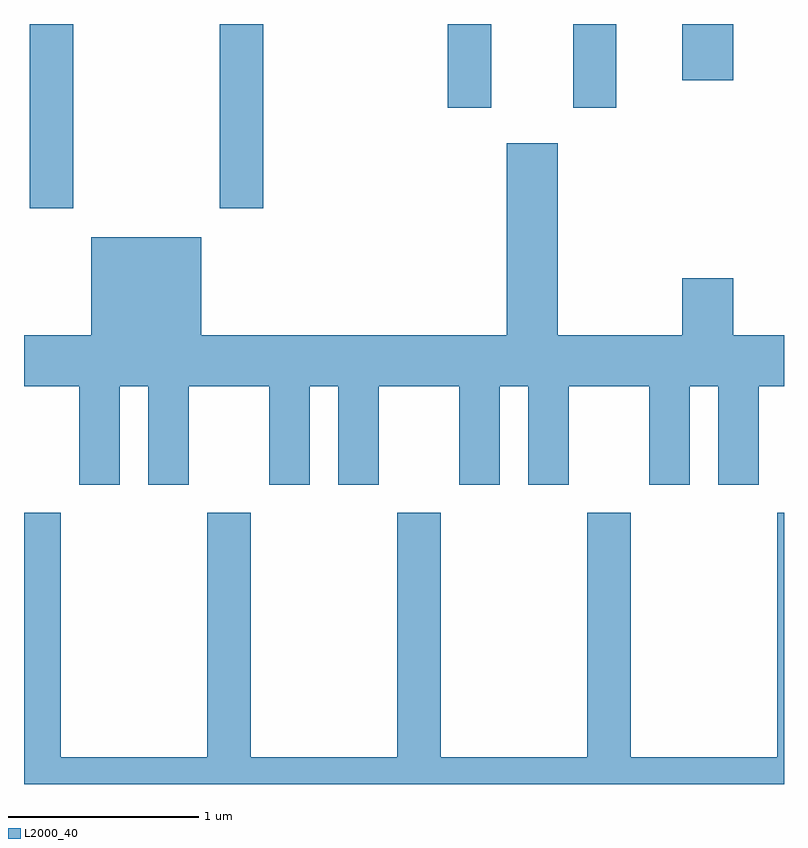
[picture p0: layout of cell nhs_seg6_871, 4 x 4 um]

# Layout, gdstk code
import gdstk
lib = gdstk.Library(unit=1e-6, precision=1e-09)
def R(c, l, rs):  # rectangles x0, y0, x1, y1
    for r in rs: c.add(gdstk.rectangle(r[:2], r[2:], *l))
def P(c, l, *ps):  # polygons
    for p in ps: c.add(gdstk.Polygon(p, *l))
L2000_40 = (2000, 40)

nhs_seg6_871 = lib.new_cell('nhs_seg6_871')
R(nhs_seg6_871, L2000_40, [(211.641,1553.191,211.869,1554.162), (212.641,1553.191,212.869,1554.162), (213.841,1553.721,214.069,1554.162), (214.501,1553.721,214.729,1554.162), (215.076,1553.866,215.344,1554.162)])
P(nhs_seg6_871, L2000_40, [(212.114,1552.256),(212.266,1552.256),(212.266,1551.736),(212.479,1551.736),(212.479,1552.256),(212.901,1552.256),(212.901,1551.736),(213.114,1551.736),(213.114,1552.256),(213.266,1552.256),(213.266,1551.736),(213.479,1551.736),(213.479,1552.256),(213.901,1552.256),(213.901,1551.736),(214.114,1551.736),(214.114,1552.256),(214.266,1552.256),(214.266,1551.736),(214.479,1551.736),(214.479,1552.256),(214.901,1552.256),(214.901,1551.736),(215.114,1551.736),(215.114,1552.256),(215.266,1552.256),(215.266,1551.736),(215.479,1551.736),(215.479,1552.256),(215.611,1552.256),(215.611,1552.524),(215.344,1552.524),(215.344,1552.824),(215.076,1552.824),(215.076,1552.524),(214.419,1552.524),(214.419,1553.534),(214.151,1553.534),(214.151,1552.524),(212.544,1552.524),(212.544,1553.039),(211.966,1553.039),(211.966,1552.524),(211.611,1552.524),(211.611,1552.256),(211.901,1552.256),(211.901,1551.736),(212.114,1551.736)],
  [(215.611,1551.589),(215.576,1551.589),(215.576,1550.304),(214.804,1550.304),(214.804,1551.589),(214.576,1551.589),(214.576,1550.304),(213.804,1550.304),(213.804,1551.589),(213.576,1551.589),(213.576,1550.304),(212.804,1550.304),(212.804,1551.589),(212.576,1551.589),(212.576,1550.304),(211.804,1550.304),(211.804,1551.589),(211.611,1551.589),(211.611,1550.162),(215.611,1550.162)])

lib.write_gds('nhs_seg6_871.gds')
